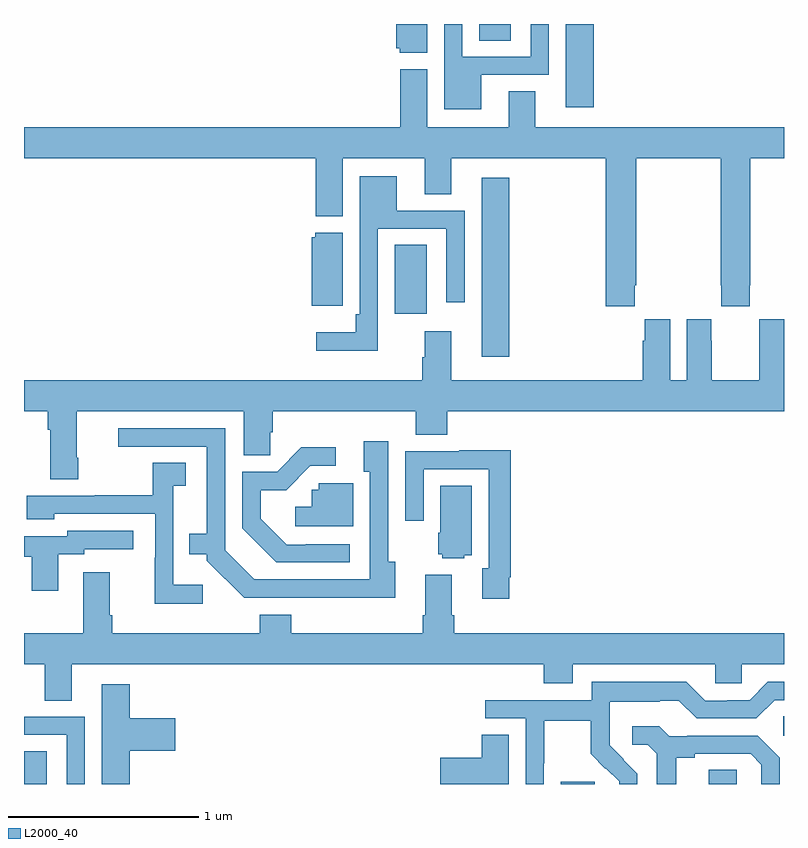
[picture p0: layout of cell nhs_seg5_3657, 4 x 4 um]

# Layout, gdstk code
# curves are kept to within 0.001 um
import gdstk
lib = gdstk.Library(unit=1e-6, precision=1e-09)
def R(c, l, rs):  # rectangles x0, y0, x1, y1
    for r in rs: c.add(gdstk.rectangle(r[:2], r[2:], *l))
def P(c, l, *ps):  # polygons
    for p in ps: c.add(gdstk.Polygon(p, *l))
L2000_40 = (2000, 40)

nhs_seg5_3657 = lib.new_cell('nhs_seg5_3657')
R(nhs_seg5_3657, L2000_40, [(327,854.799,327.121,854.972), (329.825,854.799,330.004,854.811), (330.605,854.799,330.75,854.873), (330.996,855.054,331,855.155), (329.408,857.049,329.555,857.989), (328.952,857.274,329.119,857.636), (329.852,858.36,329.999,858.799), (329.396,858.712,329.563,858.799)])
P(nhs_seg5_3657, L2000_40, [(329.407,858.531),(329.763,858.531),(329.763,858.799),(329.667,858.799),(329.667,858.627),(329.307,858.627),(329.307,858.799),(329.211,858.799),(329.211,858.35),(329.407,858.35)],
  [(329.122,858.799),(328.958,858.799),(328.958,858.672),(328.977,858.672),(328.977,858.647),(329.122,858.647)],
  [(330.215,857.425),(330.222,857.425),(330.222,858.092),(330.667,858.092),(330.667,857.425),(330.669,857.425),(330.669,857.313),(330.819,857.313),(330.819,857.425),(330.822,857.425),(330.822,858.092),(331,858.092),(331,858.256),(329.692,858.256),(329.692,858.446),(329.552,858.446),(329.552,858.256),(329.122,858.256),(329.122,858.562),(328.979,858.562),(328.979,858.256),(327,858.256),(327,858.092),(328.535,858.092),(328.535,857.786),(328.678,857.786),(328.678,858.092),(329.108,858.092),(329.108,857.902),(329.248,857.902),(329.248,858.092),(330.062,858.092),(330.062,857.313),(330.215,857.313)],
  [(328.863,857.721),(329.223,857.721),(329.223,857.334),(329.319,857.334),(329.319,857.817),(328.963,857.817),(328.963,857.998),(328.767,857.998),(328.767,857.272),(328.747,857.272),(328.747,857.176),(328.539,857.176),(328.539,857.078),(328.863,857.078)],
  [(328.678,857.701),(328.533,857.701),(328.533,857.676),(328.514,857.676),(328.514,857.315),(328.678,857.315)],
  [(331,857.245),(330.87,857.245),(330.87,857.132),(330.869,857.132),(330.869,856.924),(330.619,856.924),(330.619,857.132),(330.618,857.132),(330.618,857.245),(330.488,857.245),(330.488,856.924),(330.4,856.924),(330.4,857.245),(330.266,857.245),(330.266,857.132),(330.257,857.132),(330.257,856.924),(329.248,856.924),(329.248,857.182),(329.108,857.182),(329.108,857.045),(329.096,857.045),(329.096,856.924),(327,856.924),(327,856.76),(327.125,856.76),(327.125,856.664),(327.137,856.664),(327.137,856.404),(327.285,856.404),(327.285,856.516),(327.277,856.516),(327.277,856.76),(328.157,856.76),(328.157,856.528),(328.295,856.528),(328.295,856.65),(328.31,856.65),(328.31,856.76),(329.063,856.76),(329.063,856.636),(329.228,856.636),(329.228,856.76),(331,856.76)],
  [(328.954,855.97),(328.917,855.97),(328.917,856.603),(328.787,856.603),(328.787,856.442),(328.821,856.442),(328.821,855.876),(328.212,855.876),(328.059,856.029),(328.059,856.671),(327.495,856.671),(327.495,856.575),(327.962,856.575),(327.962,856.117),(327.871,856.117),(327.871,856.007),(327.963,856.007),(327.963,855.975),(328.158,855.78),(328.954,855.779)],
  [(328.714,856.062),(328.483,856.062),(328.483,856.059),(328.383,856.059),(328.246,856.196),(328.246,856.346),(328.379,856.346),(328.506,856.473),(328.642,856.473),(328.642,856.571),(328.46,856.571),(328.332,856.443),(328.149,856.443),(328.149,856.145),(328.328,855.966),(328.714,855.966)],
  [(329.554,855.886),(329.561,855.886),(329.561,856.555),(329.291,856.555),(329.291,856.551),(329.007,856.551),(329.007,856.185),(329.103,856.185),(329.103,856.455),(329.445,856.455),(329.445,855.935),(329.411,855.935),(329.411,855.774),(329.554,855.774)],
  [(327.94,855.847),(327.786,855.847),(327.786,856.369),(327.85,856.369),(327.85,856.49),(327.678,856.49),(327.678,856.32),(327.373,856.32),(327.373,856.317),(327.015,856.317),(327.015,856.193),(327.159,856.193),(327.159,856.221),(327.69,856.221),(327.69,855.989),(327.688,855.989),(327.688,855.749),(327.94,855.749)],
  [(328.732,856.383),(328.551,856.383),(328.551,856.347),(328.515,856.347),(328.515,856.258),(328.428,856.258),(328.428,856.155),(328.732,856.155)],
  [(329.316,856.004),(329.356,856.004),(329.356,856.37),(329.192,856.37),(329.192,856.122),(329.18,856.122),(329.18,856.008),(329.202,856.008),(329.202,855.986),(329.316,855.986)],
  [(327.181,856.008),(327.318,856.008),(327.318,856.035),(327.574,856.035),(327.574,856.131),(327.228,856.131),(327.228,856.104),(327,856.104),(327,855.996),(327.041,855.996),(327.041,855.816),(327.181,855.816)],
  [(329.264,855.688),(329.251,855.688),(329.251,855.901),(329.111,855.901),(329.111,855.688),(329.099,855.688),(329.099,855.592),(328.406,855.592),(328.406,855.691),(328.241,855.691),(328.241,855.592),(327.464,855.592),(327.464,855.688),(327.451,855.688),(327.451,855.913),(327.311,855.913),(327.311,855.592),(327,855.592),(327,855.428),(327.11,855.428),(327.11,855.238),(327.25,855.238),(327.25,855.428),(329.735,855.428),(329.735,855.329),(329.887,855.329),(329.887,855.428),(330.639,855.428),(330.639,855.33),(330.777,855.33),(330.777,855.428),(331,855.428),(331,855.592),(329.264,855.592)],
  [(329.736,854.908),(329.739,854.908),(329.739,855.132),(329.983,855.132),(329.983,854.957),(330.06,854.88),(330.063,854.883),(330.134,854.813),(330.134,854.799),(330.228,854.799),(330.228,854.854),(330.082,855.002),(330.082,855.099),(330.084,855.099),(330.084,855.233),(330.347,855.233),(330.347,855.237),(330.447,855.237),(330.54,855.144),(330.855,855.144),(330.951,855.24),(331,855.24),(331,855.336),(330.915,855.336),(330.819,855.24),(330.701,855.24),(330.701,855.237),(330.585,855.237),(330.485,855.337),(329.988,855.337),(329.988,855.24),(329.427,855.24),(329.427,855.144),(329.64,855.144),(329.64,854.799),(329.736,854.799)],
  [(327.557,854.975),(327.796,854.975),(327.796,855.145),(327.557,855.145),(327.557,855.325),(327.41,855.325),(327.41,854.799),(327.557,854.799)],
  [(327.321,855.153),(327,855.153),(327,855.057),(327.225,855.057),(327.225,854.799),(327.321,854.799)],
  [(330.433,854.936),(330.529,854.936),(330.529,854.958),(330.824,854.958),(330.881,854.901),(330.881,854.799),(330.978,854.799),(330.978,854.938),(330.862,855.054),(330.49,855.054),(330.49,855.051),(330.396,855.051),(330.344,855.103),(330.201,855.103),(330.201,855.006),(330.282,855.006),(330.329,854.959),(330.329,854.799),(330.433,854.799)],
  [(329.551,855.059),(329.408,855.059),(329.408,854.936),(329.19,854.936),(329.19,854.799),(329.551,854.799)])

lib.write_gds('nhs_seg5_3657.gds')
